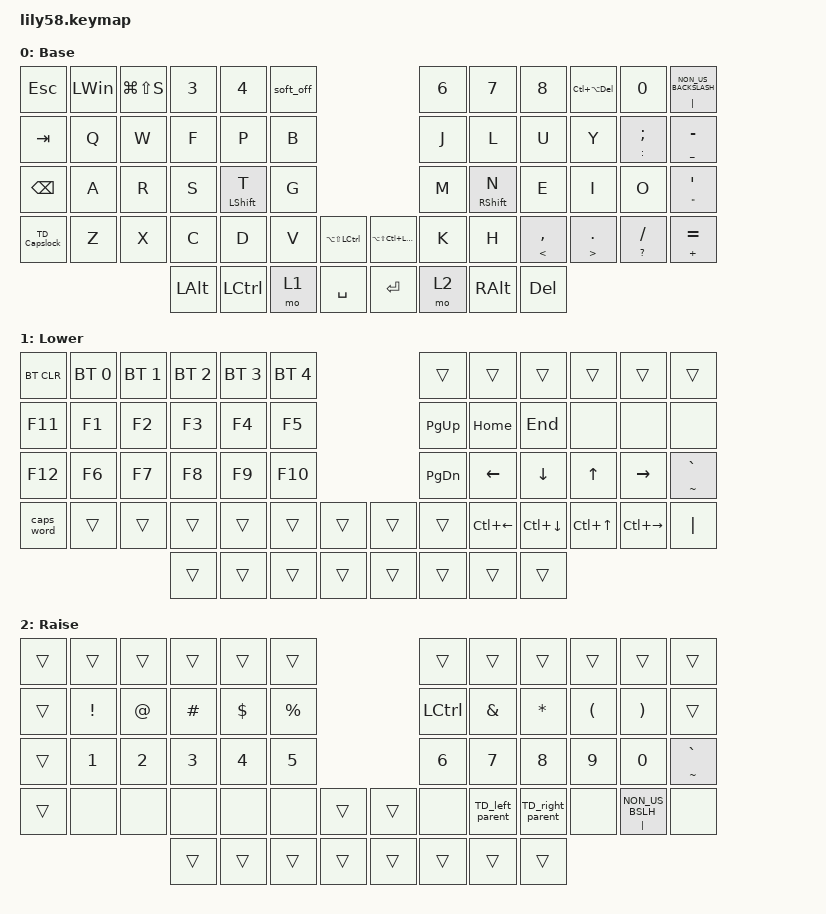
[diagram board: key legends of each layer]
/*
 * Copyright (c) 2020 The ZMK Contributors
 *
 * SPDX-License-Identifier: MIT
 */

#include <behaviors.dtsi>
#include <dt-bindings/zmk/bt.h>
#include <dt-bindings/zmk/keys.h>

/ {
    behaviors {
        TD_left_parent: TD_left_parent {
            compatible = "zmk,behavior-tap-dance";
            label = "TD_LEFT_PARENT";
            #binding-cells = <0>;
            bindings = <&mt LEFT_BRACKET LEFT_PARENTHESIS>, <&kp LEFT_BRACE>;
        };

        TD_right_parent: TD_right_parent {
            compatible = "zmk,behavior-tap-dance";
            label = "TD_RIGHT_PARENT";
            #binding-cells = <0>;
            bindings = <&mt RIGHT_BRACKET RIGHT_PARENTHESIS>, <&kp RIGHT_BRACE>;
        };

        TShift: TShift {
            compatible = "zmk,behavior-hold-tap";
            label = "T";
            bindings = <&kp>, <&kp>;

            #binding-cells = <2>;
            tapping-term-ms = <280>;
            quick-tap-ms = <175>;
            flavor = "tap-preferred";
        };

        NShift: NShift {
            compatible = "zmk,behavior-hold-tap";
            label = "N";
            bindings = <&kp>, <&kp>;

            #binding-cells = <2>;
            tapping-term-ms = <280>;
            quick-tap-ms = <175>;
            flavor = "tap-preferred";
        };

        TD_Capslock: TD_Capslock {
            compatible = "zmk,behavior-tap-dance";
            label = "Shift";
            #binding-cells = <0>;
            bindings = <&kp LSHIFT>, <&kp CLCK>;
        };
    };

    keymap {
        compatible = "zmk,keymap";

        default_layer {
            // ------------------------------------------------------------------------------------------------------------
            // |  ESC  |  1  |  2  |  3   |  4   |  5   |                   |  6   |  7    |  8    |  9   |   0   |   `   |
            // |  TAB  |  Q  |  W  |  E   |  R   |  T   |                   |  Y   |  U    |  I    |  O   |   P   |   -   |
            // |  CTRL |  A  |  S  |  D   |  F   |  G   |                   |  H   |  J    |  K    |  L   |   ;   |   '   |
            // | SHIFT |  Z  |  X  |  C   |  V   |  B   |   "["  |  |  "]"  |  N   |  M    |  ,    |  .   |   /   | SHIFT |
            //                     | ALT  | GUI  | LOWER|  SPACE |  | ENTER | RAISE| BSPC  | GUI   |

            display-name = "Base";
            bindings = <
&kp ESC        &kp LEFT_WIN  &kp LG(LS(S))  &kp N3    &kp N4                &soft_off                                                        &kp N6  &kp N7                 &kp N8               &kp LC(LA(DELETE))    &kp N0               &mt PIPE NON_US_BACKSLASH
&kp TAB        &kp Q         &kp W          &kp F     &kp P                 &kp B                                                            &kp J   &kp L                  &kp U                &kp Y                 &mt COLON SEMICOLON  &mt UNDERSCORE MINUS
&kp BACKSPACE  &kp A         &kp R          &kp S     &TShift LEFT_SHIFT T  &kp G                                                            &kp M   &NShift RIGHT_SHIFT N  &kp E                &kp I                 &kp O                &mt DOUBLE_QUOTES SQT
&TD_Capslock   &kp Z         &kp X          &kp C     &kp D                 &kp V      &kp LA(LS(LEFT_CONTROL))    &kp LA(LS(LC(LEFT_WIN)))  &kp K   &kp H                  &mt LESS_THAN COMMA  &mt GREATER_THAN DOT  &mt QUESTION FSLH    &mt PLUS EQUAL
                                            &kp LALT  &kp LCTRL             &mo 1      &kp SPACE                   &kp RET                   &mo 2   &kp RIGHT_ALT          &kp DELETE
            >;
        };

        lower_layer {
            // ------------------------------------------------------------------------------------------------------------
            // | BTCLR | BT1 | BT2 |  BT3 |  BT4 |  BT5 |                   |      |       |       |      |       |       |
            // |  F1   |  F2 |  F3 |  F4  |  F5  |  F6  |                   |  F7  |  F8   |  F9   |  F10 |  F11  |  F12  |
            // |   `   |  !  |  @  |  #   |  $   |  %   |                   |  ^   |  &    |  *    |  (   |   )   |   ~   |
            // |       |     |     |      |      |      |        |  |       |      |  _    |  +    |  {   |   }   |  "|"  |
            //                     |      |      |      |        |  |       |      |       |       |

            display-name = "Lower";
            bindings = <
&bt BT_CLR  &bt BT_SEL 0  &bt BT_SEL 1  &bt BT_SEL 2  &bt BT_SEL 3  &bt BT_SEL 4                    &trans         &trans              &trans              &trans            &trans               &trans
&kp F11     &kp F1        &kp F2        &kp F3        &kp F4        &kp F5                          &kp PAGE_UP    &kp HOME            &kp END             &none             &none                &none
&kp F12     &kp F6        &kp F7        &kp F8        &kp F9        &kp F10                         &kp PAGE_DOWN  &kp LEFT_ARROW      &kp DOWN_ARROW      &kp UP_ARROW      &kp RIGHT_ARROW      &mt TILDE GRAVE
&caps_word  &trans        &trans        &trans        &trans        &trans        &trans    &trans  &trans         &kp LC(LEFT_ARROW)  &kp LC(DOWN_ARROW)  &kp LC(UP_ARROW)  &kp LC(RIGHT_ARROW)  &kp PIPE
                                        &trans        &trans        &trans        &trans    &trans  &trans         &trans              &trans
            >;
        };

        raise_layer {
            // ------------------------------------------------------------------------------------------------------------
            // |       |     |     |      |      |      |                   |      |       |       |      |       |       |
            // |   `   |  1  |  2  |  3   |  4   |  5   |                   |  6   |   7   |   8   |  9   |   0   |       |
            // |   F1  |  F2 |  F3 |  F4  |  F5  |  F6  |                   |      |   <-  |   v   |  ^   |  ->   |       |
            // |   F7  |  F8 |  F9 |  F10 |  F11 |  F12 |        |  |       |  +   |   -   |   =   |  [   |   ]   |   \   |
            //                     |      |      |      |        |  |       |      |       |       |

            display-name = "Raise";
            bindings = <
&trans  &trans           &trans        &trans        &trans        &trans                         &trans        &trans           &trans            &trans                &trans                 &trans
&trans  &kp EXCLAMATION  &kp AT_SIGN   &kp HASH      &kp DOLLAR    &kp PERCENT                    &kp LCTRL     &kp AMPERSAND    &kp ASTERISK      &kp LEFT_PARENTHESIS  &kp RIGHT_PARENTHESIS  &trans
&trans  &kp NUMBER_1     &kp NUMBER_2  &kp NUMBER_3  &kp NUMBER_4  &kp N5                         &kp NUMBER_6  &kp N7           &kp N8            &kp N9                &kp N0                 &mt TILDE GRAVE
&trans  &none            &none         &none         &none         &none        &trans    &trans  &none         &TD_left_parent  &TD_right_parent  &none                 &mt PIPE NON_US_BSLH   &none
                                       &trans        &trans        &trans       &trans    &trans  &trans        &trans           &trans
            >;
        };

        extra_1 { status = "reserved"; };

        extra_2 { status = "reserved"; };

        extra_3 { status = "reserved"; };
    };
};
